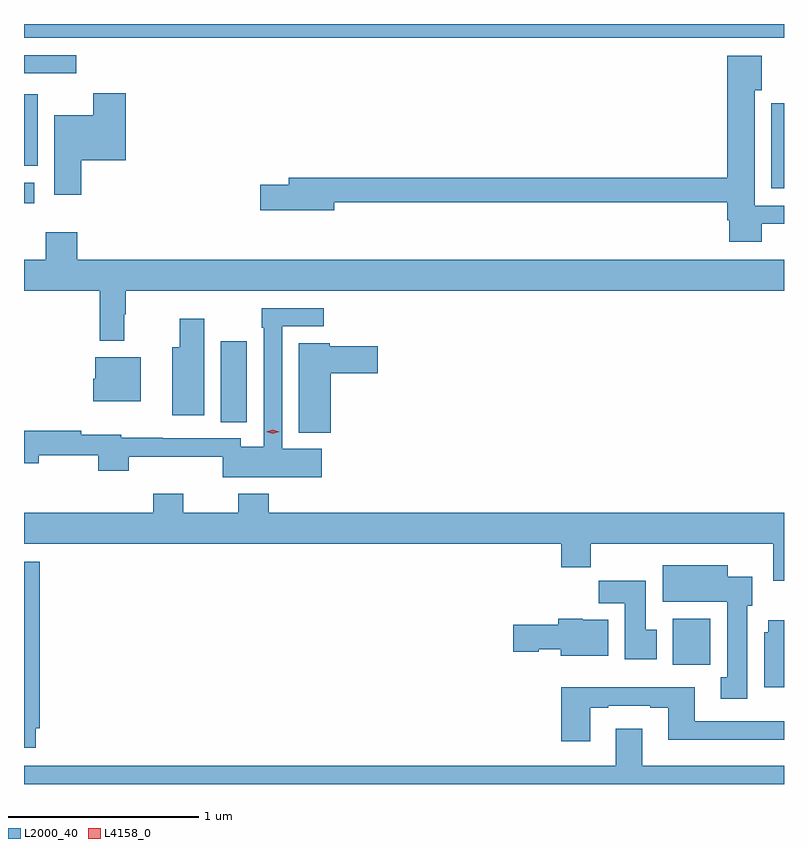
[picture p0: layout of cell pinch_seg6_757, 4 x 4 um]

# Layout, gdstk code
import gdstk
lib = gdstk.Library(unit=1e-6, precision=1e-09)
def R(c, l, rs):  # rectangles x0, y0, x1, y1
    for r in rs: c.add(gdstk.rectangle(r[:2], r[2:], *l))
def P(c, l, *ps):  # polygons
    for p in ps: c.add(gdstk.Polygon(p, *l))
L2000_40 = (2000, 40)
L4158_0 = (4158, 0)

pinch_seg6_757 = lib.new_cell('pinch_seg6_757')
R(pinch_seg6_757, L2000_40, [(373.967,968.012,374.164,968.254), (371.588,969.289,371.725,969.715), (370.552,970.44,370.606,970.548), (374.486,970.52,374.552,970.966), (370.552,970.637,370.624,971.014), (370.552,971.124,370.828,971.22), (370.552,971.312,374.552,971.384)])
P(pinch_seg6_757, L2000_40, [(374.434,970.332),(374.552,970.332),(374.552,970.428),(374.398,970.428),(374.398,971.036),(374.434,971.036),(374.434,971.218),(374.252,971.218),(374.252,970.574),(371.945,970.574),(371.945,970.538),(371.796,970.538),(371.796,970.403),(372.184,970.403),(372.184,970.446),(374.252,970.446),(374.252,970.352),(374.264,970.352),(374.264,970.238),(374.434,970.238)],
  [(370.853,970.667),(371.087,970.667),(371.087,971.02),(370.916,971.02),(370.916,970.903),(370.712,970.903),(370.712,970.485),(370.853,970.485)],
  [(370.831,970.288),(370.667,970.288),(370.667,970.144),(370.552,970.144),(370.552,969.98),(370.951,969.98),(370.951,969.717),(371.08,969.717),(371.08,969.857),(371.087,969.857),(371.087,969.98),(374.552,969.98),(374.552,970.144),(370.831,970.144)],
  [(372.118,969.148),(371.91,969.148),(371.91,969.792),(372.13,969.792),(372.13,969.888),(371.802,969.888),(371.802,969.785),(371.814,969.785),(371.814,969.16),(371.694,969.16),(371.694,969.204),(371.282,969.204),(371.282,969.206),(371.064,969.206),(371.064,969.223),(370.853,969.223),(370.853,969.242),(370.552,969.242),(370.552,969.071),(370.63,969.071),(370.63,969.114),(370.942,969.114),(370.942,969.032),(371.102,969.032),(371.102,969.107),(371.598,969.107),(371.598,968.999),(372.118,968.999)],
  [(371.5,969.832),(371.371,969.832),(371.371,969.682),(371.333,969.682),(371.333,969.326),(371.5,969.326)],
  [(372.166,969.545),(372.415,969.545),(372.415,969.687),(372.162,969.687),(372.162,969.703),(371.999,969.703),(371.999,969.233),(372.166,969.233)],
  [(371.167,969.631),(370.928,969.631),(370.928,969.516),(370.916,969.516),(370.916,969.398),(371.167,969.398)],
  [(374.552,968.812),(371.84,968.812),(371.84,968.911),(371.68,968.911),(371.68,968.812),(371.391,968.812),(371.391,968.911),(371.231,968.911),(371.231,968.812),(370.552,968.812),(370.552,968.648),(373.379,968.648),(373.379,968.524),(373.535,968.524),(373.535,968.648),(374.495,968.648),(374.495,968.454),(374.552,968.454)],
  [(370.615,967.678),(370.634,967.678),(370.634,968.553),(370.552,968.553),(370.552,967.574),(370.615,967.574)],
  [(374.359,968.322),(374.386,968.322),(374.386,968.476),(374.257,968.476),(374.257,968.536),(373.913,968.536),(373.913,968.342),(374.252,968.342),(374.252,967.946),(374.219,967.946),(374.219,967.833),(374.359,967.833)],
  [(373.882,968.196),(373.825,968.196),(373.825,968.454),(373.576,968.454),(373.576,968.336),(373.715,968.336),(373.715,968.04),(373.882,968.04)],
  [(373.627,968.248),(373.494,968.248),(373.494,968.254),(373.364,968.254),(373.364,968.223),(373.128,968.223),(373.128,968.081),(373.26,968.081),(373.26,968.093),(373.376,968.093),(373.376,968.06),(373.627,968.06)],
  [(374.552,968.245),(374.468,968.245),(374.468,968.184),(374.447,968.184),(374.447,967.892),(374.552,967.892)],
  [(373.531,967.785),(373.627,967.785),(373.627,967.797),(373.847,967.797),(373.847,967.785),(373.943,967.785),(373.943,967.616),(374.552,967.616),(374.552,967.713),(374.083,967.713),(374.083,967.894),(373.379,967.894),(373.379,967.608),(373.531,967.608)],
  [(374.552,967.48),(373.807,967.48),(373.807,967.675),(373.667,967.675),(373.667,967.48),(370.552,967.48),(370.552,967.384),(374.552,967.384)])
P(pinch_seg6_757, L4158_0, [(371.861,969.228),(371.826,969.237),(371.826,969.238),(371.826,969.238),(371.861,969.248),(371.896,969.238),(371.896,969.238),(371.896,969.237)])

lib.write_gds('pinch_seg6_757.gds')
